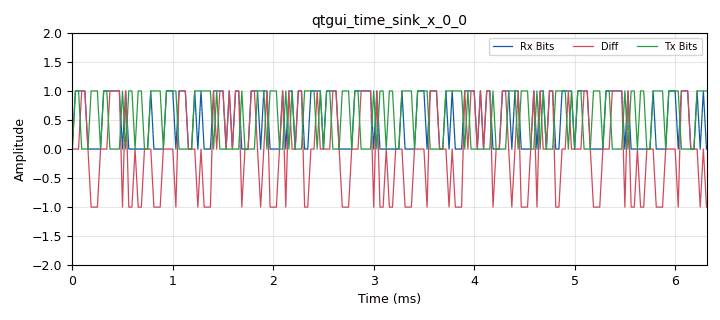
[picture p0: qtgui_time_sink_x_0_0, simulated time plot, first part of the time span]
options:
  parameters:
    author: pdflynn
    generate_options: qt_gui
    id: simple_fsk
    output_language: python
    title: simple_fsk_20220831
  states: {}

blocks:
- name: delay
  id: variable_qtgui_range
  parameters:
    label: Delay
    orient: Qt.Horizontal
    start: '0'
    step: '1'
    stop: '200'
    value: '29'
  states: {}
- name: excess_bw
  id: variable
  parameters:
    value: '0.35'
  states: {}
- name: freq_offset
  id: variable
  parameters:
    value: '0'
  states: {}
- name: noise_volt
  id: variable
  parameters:
    value: '0.05'
  states: {}
- name: reverse
  id: variable_qtgui_chooser
  parameters:
    label0: Normal
    label1: Reverse
    num_opts: '2'
    option0: '1'
    option1: '-1'
    type: int
    value: '1'
    widget: radio_buttons
  states: {}
- name: samp_rate
  id: variable
  parameters:
    value: '32000'
  states: {}
- name: samp_rate_0
  id: variable
  parameters:
    value: '64000'
  states: {}
- name: sps
  id: variable
  parameters:
    value: '4'
  states: {}
- name: taps
  id: variable
  parameters:
    value: '[1.0 + 0.0j, ]'
  states: {}
- name: time_offset
  id: variable
  parameters:
    value: '1.0'
  states: {}
- name: analog_random_source_x_0
  id: analog_random_source_x
  parameters:
    max: '255'
    min: '0'
    num_samps: '10'
    repeat: 'True'
    type: byte
  states: {}
- name: blocks_char_to_float_0_0
  id: blocks_char_to_float
  parameters:
    scale: '1'
  states: {}
- name: blocks_char_to_float_0_0_0
  id: blocks_char_to_float
  parameters:
    scale: '1'
  states: {}
- name: blocks_delay_0
  id: blocks_delay
  parameters:
    delay: int(delay)
    type: float
  states: {}
- name: blocks_sub_xx_0
  id: blocks_sub_xx
  parameters:
    type: float
  states: {}
- name: blocks_throttle_0
  id: blocks_throttle
  parameters:
    samples_per_second: samp_rate
    type: complex
  states: {}
- name: blocks_unpack_k_bits_bb_0_0
  id: blocks_unpack_k_bits_bb
  parameters:
    k: '8'
  states: {}
- name: channels_channel_model_0
  id: channels_channel_model
  parameters:
    epsilon: time_offset
    freq_offset: freq_offset
    noise_voltage: noise_volt
    seed: '0'
    taps: taps
  states: {state: bypassed}
- name: digital_gfsk_demod_0
  id: digital_gfsk_demod
  parameters:
    freq_error: '0.0'
    gain_mu: '0.175'
    mu: '0.5'
    omega_relative_limit: '0.005'
    samples_per_symbol: '2'
    sensitivity: '1.0'
  states: {}
- name: digital_gfsk_mod_0
  id: digital_gfsk_mod
  parameters:
    bt: '0.35'
    samples_per_symbol: '2'
    sensitivity: '1.0'
  states: {}
- name: qtgui_time_sink_x_0_0
  id: qtgui_time_sink_x
  parameters:
    ctrlpanel: 'True'
    label1: Rx Bits
    label2: Diff
    label3: Tx Bits
    name: ''
    nconnections: '3'
    size: '512'
    srate: samp_rate
    tr_mode: qtgui.TRIG_MODE_AUTO
    type: float
    ymax: '2'
    ymin: '-2'
  states: {}
- name: virtual_sink_1
  id: virtual_sink
  parameters:
    stream_id: '"xmt_sig"'
  states: {}
- name: virtual_source_1
  id: virtual_source
  parameters:
    stream_id: '"xmt_sig"'
  states: {}
- name: zeromq_pull_source_0
  id: zeromq_pull_source
  parameters:
    address: tcp://127.0.0.1:50252
    timeout: '100'
    type: byte
  states: {state: disabled}
- name: zeromq_push_sink_0
  id: zeromq_push_sink
  parameters:
    address: tcp://127.0.0.1:50251
    timeout: '1000'
    type: byte
  states: {state: disabled}

connections:
- [analog_random_source_x_0, '0', digital_gfsk_mod_0, '0']
- [analog_random_source_x_0, '0', virtual_sink_1, '0']
- [blocks_char_to_float_0_0, '0', blocks_sub_xx_0, '0']
- [blocks_char_to_float_0_0, '0', qtgui_time_sink_x_0_0, '0']
- [blocks_char_to_float_0_0_0, '0', blocks_delay_0, '0']
- [blocks_delay_0, '0', blocks_sub_xx_0, '1']
- [blocks_delay_0, '0', qtgui_time_sink_x_0_0, '2']
- [blocks_sub_xx_0, '0', qtgui_time_sink_x_0_0, '1']
- [blocks_throttle_0, '0', channels_channel_model_0, '0']
- [blocks_unpack_k_bits_bb_0_0, '0', blocks_char_to_float_0_0_0, '0']
- [channels_channel_model_0, '0', digital_gfsk_demod_0, '0']
- [digital_gfsk_demod_0, '0', blocks_char_to_float_0_0, '0']
- [digital_gfsk_demod_0, '0', zeromq_push_sink_0, '0']
- [digital_gfsk_mod_0, '0', blocks_throttle_0, '0']
- [virtual_source_1, '0', blocks_unpack_k_bits_bb_0_0, '0']
- [zeromq_pull_source_0, '0', digital_gfsk_mod_0, '0']
- [zeromq_pull_source_0, '0', virtual_sink_1, '0']

metadata:
  file_format: 1
